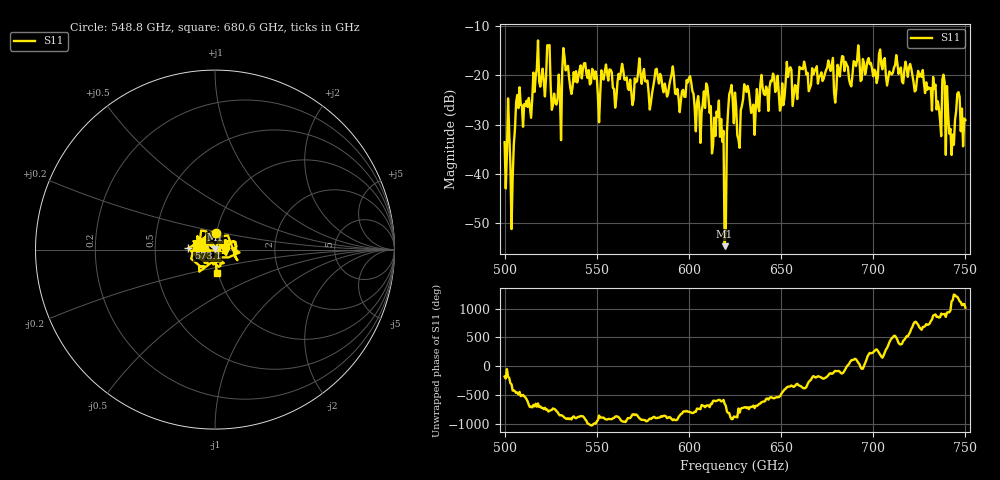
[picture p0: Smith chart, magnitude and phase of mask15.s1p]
!Created with skrf (http://scikit-rf.org).
# GHz S MA R 50.0
!freq magS11 angS11
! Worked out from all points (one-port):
!   401 points, 500 GHz to 750 GHz, reference 50 ohm
!   lowest |S11| = -54.7 dB at 619.4 GHz (marker M1), VSWR 1.00, Z = 50.1 + j0.17 ohm
!   |S11| at or under -10 dB: start of sweep to end of sweep
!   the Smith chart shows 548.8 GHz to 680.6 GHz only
!   S11 on the Smith chart (normalised r, x): 548.8 GHz: 0.99, +0.18; 573.1 GHz: 0.74, +0.01; 680.6 GHz: 0.99, -0.26
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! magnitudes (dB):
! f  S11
! 500 GHz  -33.6
! 504.4 GHz  -40.8
! 506.9 GHz  -24.0
! 513.8 GHz  -26.6
! 516.9 GHz  -20.1
! 523.8 GHz  -14.0
! 526.9 GHz  -23.7
! 531.2 GHz  -19.1
! 548.8 GHz  -20.7
! 562.5 GHz  -20.7
! 573.1 GHz  -16.5
! 593.8 GHz  -22.7
! 609.4 GHz  -21.6
! 613.1 GHz  -34.1
! 617.5 GHz  -28.9
! 619.4 GHz  -54.7
! 620.6 GHz  -31.5
! 621.9 GHz  -23.8
! 625 GHz  -23.5
! 656.2 GHz  -26.2
! 680.6 GHz  -17.8
! 687.5 GHz  -21.8
! 718.8 GHz  -20.3
! 735.6 GHz  -26.6
! 738.8 GHz  -21.4
! 742.5 GHz  -36.2
! 745.6 GHz  -23.7
! 750 GHz  -29.1
